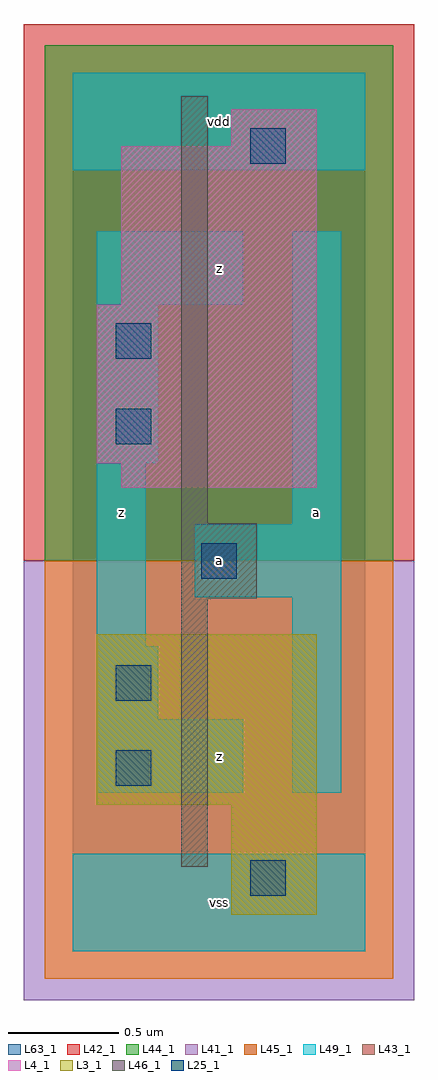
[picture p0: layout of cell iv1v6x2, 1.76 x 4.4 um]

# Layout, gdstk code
import gdstk
lib = gdstk.Library(unit=1e-6, precision=1e-09)
def R(c, l, rs):  # rectangles x0, y0, x1, y1
    for r in rs: c.add(gdstk.rectangle(r[:2], r[2:], *l))
L3_1 = (3, 1)
L4_1 = (4, 1)
L25_1 = (25, 1)
L41_1 = (41, 1)
L42_1 = (42, 1)
L43_1 = (43, 1)
L44_1 = (44, 1)
L45_1 = (45, 1)
L46_1 = (46, 1)
L49_1 = (49, 1)
L63_1 = (63, 1)

iv1v6x2 = lib.new_cell('iv1v6x2')
R(iv1v6x2, L3_1, [(0.715,0.165,1.1,0.66), (0.11,0.66,1.1,1.43)])
R(iv1v6x2, L4_1, [(0.22,2.09,1.1,2.2), (0.11,2.2,1.1,2.915), (0.22,2.915,1.1,3.63), (0.715,3.63,1.1,3.795)])
R(iv1v6x2, L25_1, [(0.8,0.25,0.96,0.41), (0.195,0.745,0.355,0.905), (0.195,1.13,0.355,1.29), (0.58,1.68,0.74,1.84), (0.195,2.285,0.355,2.445), (0.195,2.67,0.355,2.83), (0.8,3.55,0.96,3.71)])
R(iv1v6x2, L41_1, [(-0.22,-0.22,1.54,1.76)])
R(iv1v6x2, L42_1, [(-0.22,1.76,1.54,4.18)])
R(iv1v6x2, L43_1, [(0.715,0.165,1.1,0.66), (0.11,0.66,1.1,1.43), (0.22,2.09,1.1,2.2), (0.11,2.2,1.1,2.915), (0.22,2.915,1.1,3.63), (0.715,3.63,1.1,3.795)])
R(iv1v6x2, L44_1, [(-0.125,1.76,1.445,4.085)])
R(iv1v6x2, L45_1, [(-0.125,-0.125,1.445,1.76)])
R(iv1v6x2, L46_1, [(0.49,0.38,0.61,1.59), (0.49,1.59,0.83,1.93), (0.49,1.93,0.61,3.855)])
R(iv1v6x2, L49_1, [(0,0,1.32,0.44), (0.11,0.715,0.77,1.045), (0.99,0.715,1.21,1.595), (0.11,1.045,0.385,1.375), (0.11,1.375,0.33,2.2), (0.55,1.595,1.21,1.925), (0.99,1.925,1.21,3.245), (0.11,2.2,0.385,2.915), (0.11,2.915,0.77,3.245), (0,3.52,1.32,3.96)])
R(iv1v6x2, L63_1, [(0,0,1.32,3.96)])
iv1v6x2.add(gdstk.Label('z', (0.22,1.98), layer=49, texttype=1))
iv1v6x2.add(gdstk.Label('vss', (0.66,0.22), layer=49, texttype=1))
iv1v6x2.add(gdstk.Label('z', (0.66,0.88), layer=49, texttype=1))
iv1v6x2.add(gdstk.Label('a', (0.66,1.76), layer=49, texttype=1))
iv1v6x2.add(gdstk.Label('z', (0.66,3.08), layer=49, texttype=1))
iv1v6x2.add(gdstk.Label('vdd', (0.66,3.74), layer=49, texttype=1))
iv1v6x2.add(gdstk.Label('a', (1.1,1.98), layer=49, texttype=1))

lib.write_gds('iv1v6x2.gds')
